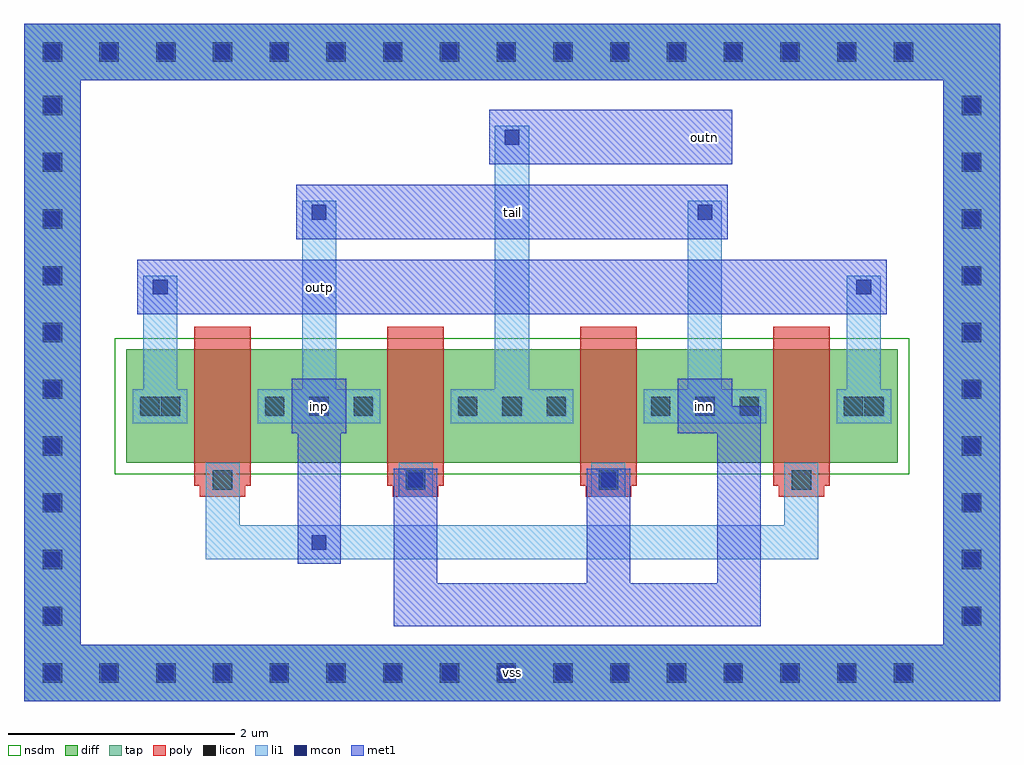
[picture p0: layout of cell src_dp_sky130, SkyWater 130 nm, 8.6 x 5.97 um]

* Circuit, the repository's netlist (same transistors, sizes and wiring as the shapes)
* Layout Canvas Generated SPICE Netlist for src_dp_sky130
* PDK: sky130

* --- Primitive Subcircuit Models ---
.subckt sky130_diff_pair__ee4f6607ea inp inn outp outn tail vss
M1 tail inp outp vss sky130_fd_pr__nfet_01v8 w=1.0u l=0.5u
M2 outn inn tail vss sky130_fd_pr__nfet_01v8 w=1.0u l=0.5u
M3 tail inn outn vss sky130_fd_pr__nfet_01v8 w=1.0u l=0.5u
M4 outp inp tail vss sky130_fd_pr__nfet_01v8 w=1.0u l=0.5u
.ends sky130_diff_pair__ee4f6607ea

* --- Top Level Design: src_dp_sky130 ---
.subckt src_dp_sky130 inp inn outp outn tail vss
Xdp inp inn outp outn tail vss sky130_diff_pair__ee4f6607ea
.ends src_dp_sky130

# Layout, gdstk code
import gdstk
lib = gdstk.Library(unit=1e-6, precision=1e-09)
def R(c, l, rs):  # rectangles x0, y0, x1, y1
    for r in rs: c.add(gdstk.rectangle(r[:2], r[2:], *l))
def A(c, l, x, y, w, h, nx, ny, dx, dy):  # array of equal rectangles
    R(c, l, [(x+i*dx, y+j*dy, x+i*dx+w, y+j*dy+h) for i in range(nx) for j in range(ny)])
diff = (65, 20)
tap = (65, 44)
poly = (66, 20)
licon = (66, 44)
li1 = (67, 20)
mcon = (67, 44)
met1 = (68, 20)
nsdm = (93, 44)

diff_pair_f2_w1_0_l0_5 = lib.new_cell('diff_pair_f2_w1.0_l0.5')
R(diff_pair_f2_w1_0_l0_5, diff, [(0,3,6.8,4)])
R(diff_pair_f2_w1_0_l0_5, tap, [(-0.9,0.9,-0.4,6.87), (-0.9,0.9,7.7,1.4), (7.2,0.9,7.7,6.87), (-0.9,6.37,7.7,6.87)])
A(diff_pair_f2_w1_0_l0_5, poly, 0.65, 2.7, 0.4, 0.295, 4, 1, 1.7, 0)
A(diff_pair_f2_w1_0_l0_5, poly, 0.6, 2.8, 0.5, 1.4, 4, 1, 1.7, 0)
A(diff_pair_f2_w1_0_l0_5, licon, -0.735, 1.065, 0.17, 0.17, 16, 2, 0.5, 5.47)
A(diff_pair_f2_w1_0_l0_5, licon, -0.735, 1.565, 0.17, 0.17, 1, 10, 0, 0.5)
A(diff_pair_f2_w1_0_l0_5, licon, 7.365, 1.565, 0.17, 0.17, 1, 10, 0, 0.5)
A(diff_pair_f2_w1_0_l0_5, licon, 0.765, 2.765, 0.17, 0.17, 4, 1, 1.7, 0)
A(diff_pair_f2_w1_0_l0_5, licon, 1.225, 3.415, 0.17, 0.17, 3, 1, 0.39, 0)
A(diff_pair_f2_w1_0_l0_5, licon, 2.925, 3.415, 0.17, 0.17, 3, 1, 0.39, 0)
A(diff_pair_f2_w1_0_l0_5, licon, 4.625, 3.415, 0.17, 0.17, 3, 1, 0.39, 0)
R(diff_pair_f2_w1_0_l0_5, licon, [(0.125,3.415,0.295,3.585), (0.305,3.415,0.475,3.585), (6.325,3.415,6.495,3.585), (6.505,3.415,6.675,3.585)])
A(diff_pair_f2_w1_0_l0_5, li1, 1.16, 3.35, 1.08, 0.3, 3, 1, 1.7, 0)
R(diff_pair_f2_w1_0_l0_5, li1, [(-0.9,0.9,-0.4,6.87), (-0.9,0.9,7.7,1.4), (7.2,0.9,7.7,6.87), (0.7,2.15,6.1,2.45), (0.7,2.3,1,3), (5.8,2.3,6.1,3), (2.4,2.7,2.7,3), (4.1,2.7,4.4,3), (0.06,3.35,0.54,3.65), (6.26,3.35,6.74,3.65), (0.15,3.5,0.45,4.65), (1.55,3.5,1.85,5.31), (3.25,3.5,3.55,5.97), (4.95,3.5,5.25,5.31), (6.35,3.5,6.65,4.65), (-0.9,6.37,7.7,6.87)])
A(diff_pair_f2_w1_0_l0_5, mcon, -0.715, 1.085, 0.13, 0.13, 16, 2, 0.5, 5.47)
A(diff_pair_f2_w1_0_l0_5, mcon, -0.715, 1.585, 0.13, 0.13, 1, 10, 0, 0.5)
A(diff_pair_f2_w1_0_l0_5, mcon, 7.385, 1.585, 0.13, 0.13, 1, 10, 0, 0.5)
R(diff_pair_f2_w1_0_l0_5, mcon, [(1.635,2.235,1.765,2.365), (2.485,2.785,2.615,2.915), (4.185,2.785,4.315,2.915), (0.235,4.485,0.365,4.615), (6.435,4.485,6.565,4.615), (1.635,5.145,1.765,5.275), (5.035,5.145,5.165,5.275), (3.335,5.805,3.465,5.935)])
R(diff_pair_f2_w1_0_l0_5, met1, [(-0.9,0.9,-0.4,6.87), (-0.9,0.9,7.7,1.4), (7.2,0.9,7.7,6.87), (2.36,1.56,5.59,1.94), (2.36,1.75,2.74,2.95), (4.06,1.75,4.44,2.95), (5.21,1.75,5.59,3.5), (1.51,2.11,1.89,2.49), (1.51,2.3,1.89,3.5), (1.46,3.26,1.94,3.74), (4.86,3.26,5.34,3.74), (0.1,4.31,6.7,4.79), (1.46,4.31,1.94,4.79), (1.5,4.97,5.3,5.45), (3.16,4.97,3.64,5.45), (3.2,5.63,5.34,6.11), (4.86,5.63,5.34,6.11), (-0.9,6.37,7.7,6.87)])
R(diff_pair_f2_w1_0_l0_5, nsdm, [(-0.1,2.9,6.9,4.1)])
diff_pair_f2_w1_0_l0_5.add(gdstk.Label('inp', (1.7,3.5), layer=68, texttype=16))
diff_pair_f2_w1_0_l0_5.add(gdstk.Label('inn', (5.1,3.5), layer=68, texttype=16))
diff_pair_f2_w1_0_l0_5.add(gdstk.Label('outp', (1.7,4.55), layer=68, texttype=16))
diff_pair_f2_w1_0_l0_5.add(gdstk.Label('outn', (5.1,5.87), layer=68, texttype=16))
diff_pair_f2_w1_0_l0_5.add(gdstk.Label('tail', (3.4,5.21), layer=68, texttype=16))
diff_pair_f2_w1_0_l0_5.add(gdstk.Label('vss', (3.4,1.15), layer=68, texttype=16))

src_dp_sky130 = lib.new_cell('src_dp_sky130')
R(src_dp_sky130, met1, [(3.16,0.91,3.64,1.39), (1.46,3.26,1.94,3.74), (4.86,3.26,5.34,3.74), (1.46,4.31,1.94,4.79), (3.16,4.97,3.64,5.45), (4.86,5.63,5.34,6.11)])
src_dp_sky130.add(gdstk.Reference(diff_pair_f2_w1_0_l0_5, (0,0)))
src_dp_sky130.add(gdstk.Label('inp', (1.7,3.5), layer=68, texttype=16))
src_dp_sky130.add(gdstk.Label('inn', (5.1,3.5), layer=68, texttype=16))
src_dp_sky130.add(gdstk.Label('outp', (1.7,4.55), layer=68, texttype=16))
src_dp_sky130.add(gdstk.Label('outn', (5.1,5.87), layer=68, texttype=16))
src_dp_sky130.add(gdstk.Label('tail', (3.4,5.21), layer=68, texttype=16))
src_dp_sky130.add(gdstk.Label('vss', (3.4,1.15), layer=68, texttype=16))

lib.write_gds('src_dp_sky130.gds')
